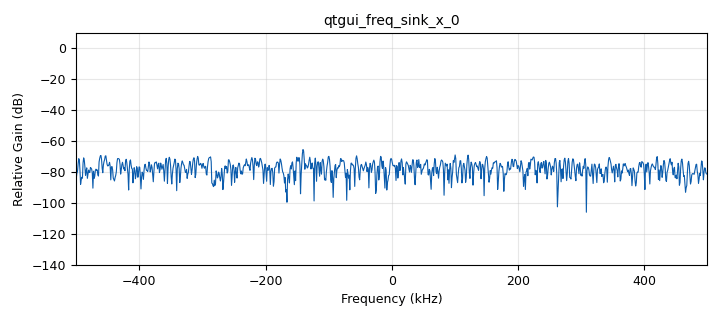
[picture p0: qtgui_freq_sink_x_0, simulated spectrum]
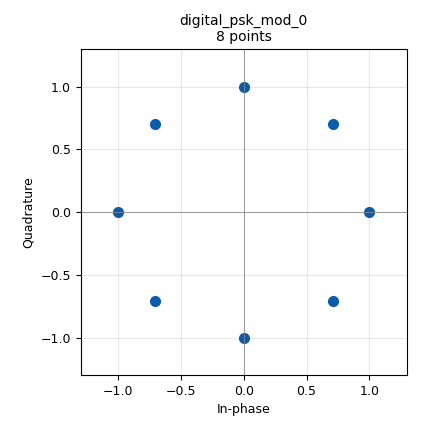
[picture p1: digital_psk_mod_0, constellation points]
<?xml version='1.0' encoding='utf-8'?>
<?grc format='1' created='3.7.13'?>
<flow_graph>
<block>
<key>options</key>
<param><key>id</key><value>top_block</value></param>
<param><key>generate_options</key><value>qt_gui</value></param>
</block>
<block>
<key>variable_qtgui_chooser</key>
<param><key>id</key><value>button</value></param>
<param><key>value</key><value>0</value></param>
<param><key>label0</key><value>OFF</value></param>
<param><key>label1</key><value>ON</value></param>
<param><key>num_opts</key><value>2</value></param>
<param><key>option0</key><value>0</value></param>
<param><key>option1</key><value>1</value></param>
<param><key>type</key><value>int</value></param>
</block>
<block>
<key>variable</key>
<param><key>id</key><value>samp_rate</value></param>
<param><key>value</key><value>1e6</value></param>
</block>
<block>
<key>variable_qtgui_range</key>
<param><key>id</key><value>sin_freq</value></param>
<param><key>value</key><value>samp_rate/4</value></param>
<param><key>orient</key><value>Qt.Horizontal</value></param>
<param><key>start</key><value>-samp_rate/2</value></param>
<param><key>step</key><value>100e3</value></param>
<param><key>stop</key><value>samp_rate/2</value></param>
</block>
<block>
<key>analog_fastnoise_source_x</key>
<param><key>id</key><value>analog_fastnoise_source_x_0</value></param>
<param><key>amp</key><value>0.01</value></param>
<param><key>noise_type</key><value>analog.GR_GAUSSIAN</value></param>
<param><key>type</key><value>complex</value></param>
<param><key>seed</key><value>0</value></param>
<param><key>samples</key><value>8192</value></param>
</block>
<block>
<key>analog_random_source_x</key>
<param><key>id</key><value>analog_random_source_x_0</value></param>
<param><key>max</key><value>255</value></param>
<param><key>min</key><value>0</value></param>
<param><key>num_samps</key><value>1000</value></param>
<param><key>type</key><value>byte</value></param>
<param><key>repeat</key><value>True</value></param>
</block>
<block>
<key>analog_sig_source_x</key>
<param><key>id</key><value>analog_sig_source_x_0</value></param>
<param><key>amp</key><value>1</value></param>
<param><key>freq</key><value>sin_freq</value></param>
<param><key>offset</key><value>0</value></param>
<param><key>type</key><value>complex</value></param>
<param><key>samp_rate</key><value>samp_rate</value></param>
<param><key>waveform</key><value>analog.GR_COS_WAVE</value></param>
</block>
<block>
<key>blocks_add_xx</key>
<param><key>id</key><value>blocks_add_xx_0</value></param>
<param><key>type</key><value>complex</value></param>
</block>
<block>
<key>blocks_message_debug</key>
<param><key>id</key><value>blocks_message_debug_0</value></param>
</block>
<block>
<key>blocks_multiply_const_vxx</key>
<param><key>id</key><value>blocks_multiply_const_vxx_0</value></param>
<param><key>const</key><value>button</value></param>
<param><key>type</key><value>complex</value></param>
</block>
<block>
<key>blocks_multiply_xx</key>
<param><key>id</key><value>blocks_multiply_xx_0</value></param>
<param><key>type</key><value>complex</value></param>
</block>
<block>
<key>blocks_throttle</key>
<param><key>id</key><value>blocks_throttle_0</value></param>
<param><key>samples_per_second</key><value>samp_rate</value></param>
<param><key>type</key><value>complex</value></param>
</block>
<block>
<key>digital_psk_mod</key>
<param><key>id</key><value>digital_psk_mod_0</value></param>
<param><key>differential</key><value>True</value></param>
<param><key>excess_bw</key><value>0.35</value></param>
<param><key>mod_code</key><value>"gray"</value></param>
<param><key>constellation_points</key><value>8</value></param>
<param><key>samples_per_symbol</key><value>8</value></param>
</block>
<block>
<key>orbitsense_detection_engine</key>
<param><key>id</key><value>orbitsense_detection_engine_0</value></param>
<param><key>energy_thresh_dB</key><value>20</value></param>
<param><key>nf_est</key><value>1</value></param>
<param><key>fft_size</key><value>1024</value></param>
<param><key>noise_floor_time</key><value>0.1</value></param>
<param><key>noise_floor_val</key><value>-100</value></param>
<param><key>sampling_rate</key><value>1e6</value></param>
<param><key>method</key><value>0</value></param>
<param><key>window</key><value>1</value></param>
</block>
<block>
<key>qtgui_freq_sink_x</key>
<param><key>id</key><value>qtgui_freq_sink_x_0</value></param>
<param><key>bw</key><value>samp_rate</value></param>
<param><key>fc</key><value>0</value></param>
<param><key>ctrlpanel</key><value>True</value></param>
<param><key>fftsize</key><value>1024</value></param>
<param><key>showports</key><value>True</value></param>
<param><key>type</key><value>complex</value></param>
<param><key>wintype</key><value>firdes.WIN_BLACKMAN_hARRIS</value></param>
</block>
<block>
<key>uhd_usrp_source</key>
<param><key>id</key><value>uhd_usrp_source_0</value></param>
<param><key>ant0</key><value>RX2</value></param>
<param><key>bw0</key><value>samp_rate</value></param>
<param><key>center_freq0</key><value>868e6</value></param>
<param><key>dc_offs_enb0</key><value>True</value></param>
<param><key>iq_imbal_enb0</key><value>True</value></param>
<param><key>norm_gain0</key><value>False</value></param>
<param><key>gain0</key><value>35</value></param>
<param><key>clock_rate</key><value>0.0</value></param>
<param><key>dev_args</key><value>""</value></param>
<param><key>_enabled</key><value>0</value></param>
<param><key>type</key><value>fc32</value></param>
<param><key>samp_rate</key><value>samp_rate</value></param>
<param><key>hide_cmd_port</key><value>False</value></param>
<param><key>hide_lo_controls</key><value>True</value></param>
<param><key>sync</key><value></value></param>
</block>
<connection><source_block_id>analog_fastnoise_source_x_0</source_block_id><sink_block_id>blocks_add_xx_0</sink_block_id><source_key>0</source_key><sink_key>1</sink_key></connection>
<connection><source_block_id>analog_random_source_x_0</source_block_id><sink_block_id>digital_psk_mod_0</sink_block_id><source_key>0</source_key><sink_key>0</sink_key></connection>
<connection><source_block_id>analog_sig_source_x_0</source_block_id><sink_block_id>blocks_multiply_const_vxx_0</sink_block_id><source_key>0</source_key><sink_key>0</sink_key></connection>
<connection><source_block_id>blocks_add_xx_0</source_block_id><sink_block_id>blocks_multiply_xx_0</sink_block_id><source_key>0</source_key><sink_key>0</sink_key></connection>
<connection><source_block_id>blocks_multiply_const_vxx_0</source_block_id><sink_block_id>blocks_add_xx_0</sink_block_id><source_key>0</source_key><sink_key>0</sink_key></connection>
<connection><source_block_id>blocks_multiply_xx_0</source_block_id><sink_block_id>blocks_throttle_0</sink_block_id><source_key>0</source_key><sink_key>0</sink_key></connection>
<connection><source_block_id>blocks_throttle_0</source_block_id><sink_block_id>orbitsense_detection_engine_0</sink_block_id><source_key>0</source_key><sink_key>0</sink_key></connection>
<connection><source_block_id>blocks_throttle_0</source_block_id><sink_block_id>qtgui_freq_sink_x_0</sink_block_id><source_key>0</source_key><sink_key>0</sink_key></connection>
<connection><source_block_id>digital_psk_mod_0</source_block_id><sink_block_id>blocks_multiply_xx_0</sink_block_id><source_key>0</source_key><sink_key>1</sink_key></connection>
<connection><source_block_id>orbitsense_detection_engine_0</source_block_id><sink_block_id>blocks_message_debug_0</sink_block_id><source_key>data_out</source_key><sink_key>print</sink_key></connection>
</flow_graph>
